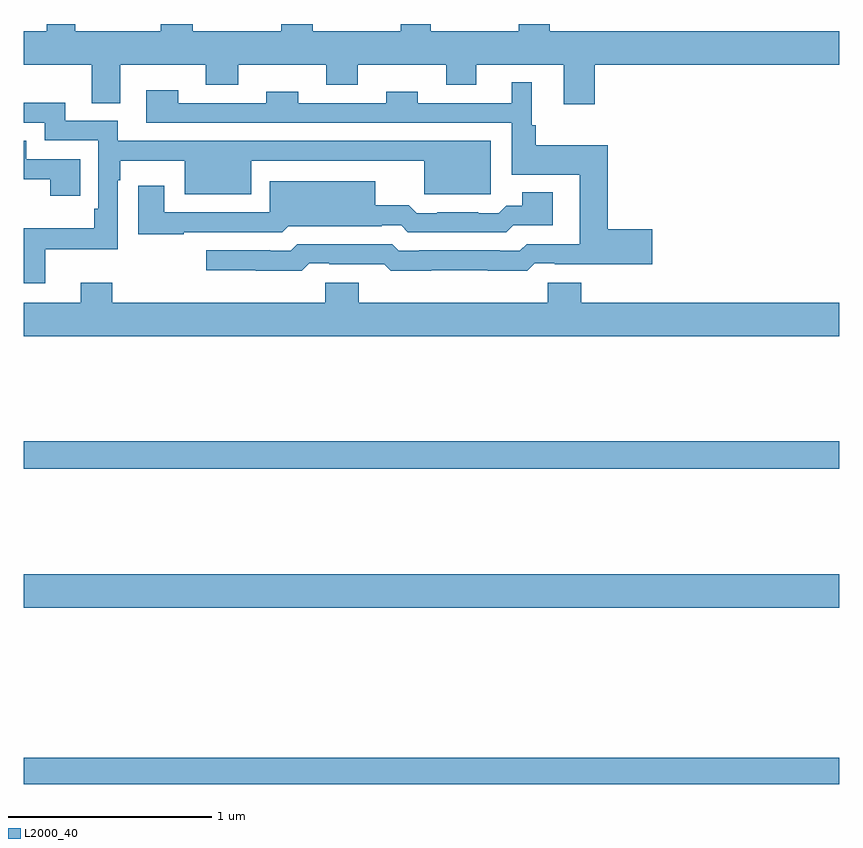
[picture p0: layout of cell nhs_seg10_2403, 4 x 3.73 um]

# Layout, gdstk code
import gdstk
lib = gdstk.Library(unit=1e-6, precision=1e-09)
def R(c, l, rs):  # rectangles x0, y0, x1, y1
    for r in rs: c.add(gdstk.rectangle(r[:2], r[2:], *l))
def P(c, l, *ps):  # polygons
    for p in ps: c.add(gdstk.Polygon(p, *l))
L2000_40 = (2000, 40)

nhs_seg10_2403 = lib.new_cell('nhs_seg10_2403')
R(nhs_seg10_2403, L2000_40, [(239,1312.77,243,1312.898), (239,1313.636,243,1313.8), (239,1314.316,243,1314.452)])
P(nhs_seg10_2403, L2000_40, [(241.427,1316.5),(241.427,1316.464),(240.997,1316.464),(240.997,1316.5),(240.85,1316.5),(240.85,1316.464),(240.417,1316.464),(240.417,1316.5),(240.262,1316.5),(240.262,1316.464),(239.829,1316.464),(239.829,1316.5),(239.671,1316.5),(239.671,1316.464),(239.251,1316.464),(239.251,1316.5),(239.111,1316.5),(239.111,1316.464),(239,1316.464),(239,1316.3),(239.333,1316.3),(239.333,1316.11),(239.473,1316.11),(239.473,1316.3),(239.893,1316.3),(239.893,1316.201),(240.051,1316.201),(240.051,1316.3),(240.484,1316.3),(240.484,1316.201),(240.639,1316.201),(240.639,1316.3),(241.072,1316.3),(241.072,1316.201),(241.219,1316.201),(241.219,1316.3),(241.649,1316.3),(241.649,1316.106),(241.802,1316.106),(241.802,1316.3),(243,1316.3),(243,1316.464),(241.58,1316.464),(241.58,1316.5)],
  [(240.399,1315.326),(240.499,1315.326),(240.499,1315.322),(240.767,1315.322),(240.8,1315.29),(240.998,1315.29),(240.998,1315.292),(241.276,1315.292),(241.276,1315.29),(241.471,1315.29),(241.507,1315.326),(241.606,1315.326),(241.606,1315.322),(242.083,1315.322),(242.083,1315.493),(241.865,1315.493),(241.865,1315.906),(241.511,1315.906),(241.511,1316.002),(241.492,1316.002),(241.492,1316.215),(241.394,1316.215),(241.394,1316.112),(240.933,1316.112),(240.933,1316.167),(240.778,1316.167),(240.778,1316.112),(240.345,1316.112),(240.345,1316.167),(240.19,1316.167),(240.19,1316.112),(239.757,1316.112),(239.757,1316.176),(239.601,1316.176),(239.601,1316.016),(241.395,1316.016),(241.395,1315.76),(241.727,1315.76),(241.727,1315.419),(241.467,1315.419),(241.434,1315.386),(241.334,1315.386),(241.334,1315.389),(240.94,1315.389),(240.94,1315.386),(240.84,1315.386),(240.807,1315.419),(240.342,1315.419),(240.309,1315.386),(240.209,1315.386),(240.209,1315.389),(239.895,1315.389),(239.895,1315.292),(240.138,1315.292),(240.138,1315.29),(240.363,1315.29)],
  [(239.104,1315.394),(239.46,1315.394),(239.46,1315.733),(239.473,1315.733),(239.473,1315.83),(239.789,1315.83),(239.789,1315.664),(240.115,1315.664),(240.115,1315.83),(240.965,1315.83),(240.965,1315.664),(241.291,1315.664),(241.291,1315.927),(241.069,1315.927),(241.069,1315.926),(239.461,1315.926),(239.461,1316.025),(239.203,1316.025),(239.203,1316.114),(239,1316.114),(239,1316.016),(239.102,1316.016),(239.102,1315.929),(239.364,1315.929),(239.364,1315.594),(239.344,1315.594),(239.344,1315.498),(239,1315.498),(239,1315.227),(239.104,1315.227)],
  [(239.275,1315.836),(239.01,1315.836),(239.01,1315.926),(239,1315.926),(239,1315.738),(239.128,1315.738),(239.128,1315.656),(239.275,1315.656)],
  [(239.785,1315.479),(240.268,1315.479),(240.297,1315.508),(240.755,1315.508),(240.755,1315.512),(240.851,1315.512),(240.884,1315.479),(241.368,1315.479),(241.401,1315.512),(241.594,1315.512),(241.594,1315.675),(241.445,1315.675),(241.445,1315.609),(241.366,1315.609),(241.329,1315.572),(241.229,1315.572),(241.229,1315.575),(241.027,1315.575),(241.027,1315.572),(240.927,1315.572),(240.889,1315.61),(240.724,1315.61),(240.724,1315.729),(240.207,1315.729),(240.207,1315.575),(239.689,1315.575),(239.689,1315.705),(239.561,1315.705),(239.561,1315.467),(239.785,1315.467)],
  [(243,1315.132),(241.736,1315.132),(241.736,1315.231),(241.571,1315.231),(241.571,1315.132),(240.644,1315.132),(240.644,1315.231),(240.479,1315.231),(240.479,1315.132),(239.432,1315.132),(239.432,1315.231),(239.279,1315.231),(239.279,1315.132),(239,1315.132),(239,1314.968),(243,1314.968)])

lib.write_gds('nhs_seg10_2403.gds')
